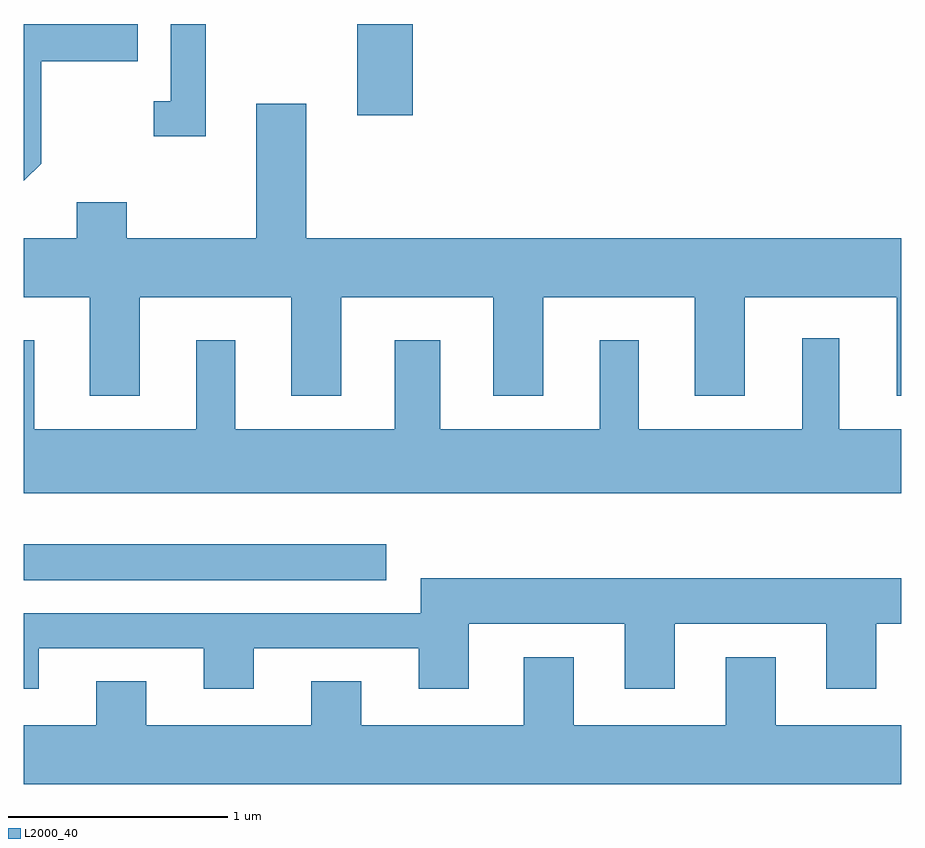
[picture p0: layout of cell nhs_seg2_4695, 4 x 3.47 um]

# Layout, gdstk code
import gdstk
lib = gdstk.Library(unit=1e-6, precision=1e-09)
def R(c, l, rs):  # rectangles x0, y0, x1, y1
    for r in rs: c.add(gdstk.rectangle(r[:2], r[2:], *l))
def P(c, l, *ps):  # polygons
    for p in ps: c.add(gdstk.Polygon(p, *l))
L2000_40 = (2000, 40)

nhs_seg2_4695 = lib.new_cell('nhs_seg2_4695')
R(nhs_seg2_4695, L2000_40, [(323.611,1029.266,325.263,1029.429), (325.131,1031.386,325.384,1031.802)])
P(nhs_seg2_4695, L2000_40, [(324.439,1031.802),(324.281,1031.802),(324.281,1031.449),(324.203,1031.449),(324.203,1031.291),(324.439,1031.291)],
  [(323.689,1031.164),(323.689,1031.631),(324.129,1031.631),(324.129,1031.802),(323.611,1031.802),(323.611,1031.086)],
  [(324.139,1030.556),(324.831,1030.556),(324.831,1030.106),(325.059,1030.106),(325.059,1030.556),(325.751,1030.556),(325.751,1030.106),(325.979,1030.106),(325.979,1030.556),(326.671,1030.556),(326.671,1030.106),(326.899,1030.106),(326.899,1030.556),(327.591,1030.556),(327.591,1030.106),(327.611,1030.106),(327.611,1030.824),(324.899,1030.824),(324.899,1031.439),(324.671,1031.439),(324.671,1030.824),(324.079,1030.824),(324.079,1030.989),(323.851,1030.989),(323.851,1030.824),(323.611,1030.824),(323.611,1030.556),(323.911,1030.556),(323.911,1030.106),(324.139,1030.106)],
  [(327.611,1029.954),(327.329,1029.954),(327.329,1030.368),(327.161,1030.368),(327.161,1029.954),(326.414,1029.954),(326.414,1030.359),(326.236,1030.359),(326.236,1029.954),(325.509,1029.954),(325.509,1030.359),(325.301,1030.359),(325.301,1029.954),(324.574,1029.954),(324.574,1030.359),(324.396,1030.359),(324.396,1029.954),(323.659,1029.954),(323.659,1030.359),(323.611,1030.359),(323.611,1029.661),(327.611,1029.661)],
  [(323.679,1028.956),(324.431,1028.956),(324.431,1028.771),(324.659,1028.771),(324.659,1028.956),(325.411,1028.956),(325.411,1028.771),(325.639,1028.771),(325.639,1029.066),(326.351,1029.066),(326.351,1028.771),(326.579,1028.771),(326.579,1029.066),(327.271,1029.066),(327.271,1028.771),(327.499,1028.771),(327.499,1029.066),(327.611,1029.066),(327.611,1029.274),(325.421,1029.274),(325.421,1029.114),(323.611,1029.114),(323.611,1028.771),(323.679,1028.771)],
  [(327.611,1028.604),(327.039,1028.604),(327.039,1028.914),(326.811,1028.914),(326.811,1028.604),(326.119,1028.604),(326.119,1028.914),(325.891,1028.914),(325.891,1028.604),(325.149,1028.604),(325.149,1028.804),(324.921,1028.804),(324.921,1028.604),(324.169,1028.604),(324.169,1028.804),(323.941,1028.804),(323.941,1028.604),(323.611,1028.604),(323.611,1028.336),(327.611,1028.336)])

lib.write_gds('nhs_seg2_4695.gds')
